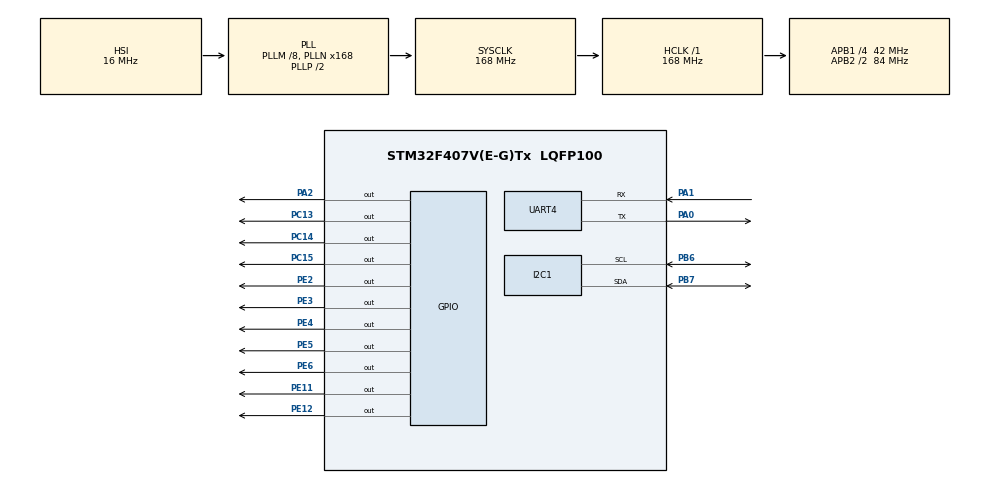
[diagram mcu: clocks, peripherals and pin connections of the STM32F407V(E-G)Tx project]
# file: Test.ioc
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Mcu.Family=STM32F4
Mcu.Name=STM32F407V(E-G)Tx
Mcu.Package=LQFP100
NVIC.PriorityGroup=NVIC_PRIORITYGROUP_0
PA0-WKUP.Mode=Asynchronous
PA0-WKUP.Signal=UART4_TX
PA1.Mode=Asynchronous
PA1.Signal=UART4_RX
PA2.PinState=GPIO_PIN_RESET
PA2.Signal=GPIO_Output
PB6.Mode=I2C
PB6.Signal=I2C1_SCL
PB7.Mode=I2C
PB7.Signal=I2C1_SDA
PC13-ANTI_TAMP.Signal=GPIO_Output
PC14-OSC32_IN.GPIO_PuPd=GPIO_NOPULL
PC14-OSC32_IN.PinState=GPIO_PIN_RESET
PC14-OSC32_IN.Signal=GPIO_Output
PC15-OSC32_OUT.Signal=GPIO_Output
PE11.Signal=GPIO_Output
PE12.Signal=GPIO_Output
PE2.Signal=GPIO_Output
PE3.Signal=GPIO_Output
PE4.Signal=GPIO_Output
PE5.Signal=GPIO_Output
PE6.Signal=GPIO_Output
ProjectManager.HeapSize=0x200
ProjectManager.StackSize=0x400
ProjectManager.TargetToolchain=STM32CubeIDE
RCC.48MHZClocksFreq_Value=48000000
RCC.AHBFreq_Value=168000000
RCC.APB1CLKDivider=RCC_HCLK_DIV4
RCC.APB1Freq_Value=42000000
RCC.APB1TimFreq_Value=84000000
RCC.APB2CLKDivider=RCC_HCLK_DIV2
RCC.APB2Freq_Value=84000000
RCC.APB2TimFreq_Value=168000000
RCC.CortexFreq_Value=168000000
RCC.HCLKFreq_Value=168000000
RCC.HSE_VALUE=8000000
RCC.HSI_VALUE=16000000
RCC.PLLI2SN=50
RCC.PLLM=8
RCC.PLLN=168
RCC.PLLQ=7
RCC.SYSCLKFreq_VALUE=168000000
RCC.SYSCLKSource=RCC_SYSCLKSOURCE_PLLCLK
RCC.VCOOutputFreq_Value=336000000
UART4.VirtualMode=Asynchronous
board=STM32F407G-DISC1

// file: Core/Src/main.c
/* USER CODE BEGIN Header */
/**
  ******************************************************************************
  * @file           : main.c
  * @brief          : Main program body
  ******************************************************************************
  * @attention
  *
  * Copyright (c) 2024 STMicroelectronics.
  * All rights reserved.
  *
  * This software is licensed under terms that can be found in the LICENSE file
  * in the root directory of this software component.
  * If no LICENSE file comes with this software, it is provided AS-IS.
  *
  ******************************************************************************
  */
/* USER CODE END Header */
#include "main.h"

/* USER CODE BEGIN PD */
#define TCA9543A_ADDR 0x70 // TCA9543A I2C-adres
#define ADS1115_BASE_ADDR 0x48 // Basisadres voor ADS1115
/* USER CODE END PD */

I2C_HandleTypeDef hi2c1;

UART_HandleTypeDef huart4;

void SystemClock_Config(void);
static void MX_GPIO_Init(void);
static void MX_I2C1_Init(void);
static void MX_UART4_Init(void);
/* USER CODE BEGIN PFP */
uint16_t results[24];

void selectI2CChannel(uint8_t channel) {
    uint8_t config = 1 << channel;
    HAL_I2C_Master_Transmit(&hi2c1, TCA9543A_ADDR << 1, &config, 1, HAL_MAX_DELAY);
}

uint16_t readADS1115(uint8_t addr, uint8_t channel) {
    uint8_t config[3];
    uint8_t data[2];

    // Config register to single-shot mode, selecting the correct channel
    config[0] = 0x01; // Config register

    // Configuration settings: Single-shot mode, FSR ±6.144V, 128SPS
    // Different AINx for different channels
    switch(channel) {
        case 0: config[1] = 0xC3; break; // AIN0
        case 1: config[1] = 0xD3; break; // AIN1
        case 2: config[1] = 0xE3; break; // AIN2
        case 3: config[1] = 0xF3; break; // AIN3
    }

    config[2] = 0x83; // LSB: Disable comparator

    HAL_I2C_Master_Transmit(&hi2c1, addr << 1, config, 3, HAL_MAX_DELAY);

    // Wait for the conversion to complete
    HAL_Delay(8); // ADS1115 max conversion time is 8ms

    // Read conversion result
    uint8_t reg = 0x00; // Conversion register
    HAL_I2C_Master_Transmit(&hi2c1, addr << 1, &reg, 1, HAL_MAX_DELAY);
    HAL_I2C_Master_Receive(&hi2c1, addr << 1, data, 2, HAL_MAX_DELAY);

    uint16_t result = (data[0] << 8) | data[1];
    return result;
}

/* USER CODE END PFP */

int main(void)
{

  /* MCU Configuration--------------------------------------------------------*/

  /* Reset of all peripherals, Initializes the Flash interface and the Systick. */
  HAL_Init();

  /* Configure the system clock */
  SystemClock_Config();

  /* Initialize all configured peripherals */
  MX_GPIO_Init();
  MX_I2C1_Init();
  MX_UART4_Init();
  /* USER CODE BEGIN 2 */

  HAL_GPIO_WritePin(GPIOC, GPIO_PIN_13, GPIO_PIN_RESET); // Set PC13 low (0V)
  HAL_GPIO_WritePin(GPIOE, GPIO_PIN_2, GPIO_PIN_RESET); // Set PC13 low (0V)
  HAL_GPIO_WritePin(GPIOE, GPIO_PIN_3, GPIO_PIN_RESET); // Set PC13 low (0V)
  HAL_GPIO_WritePin(GPIOE, GPIO_PIN_4, GPIO_PIN_RESET); // Set PC13 low (0V)
  HAL_GPIO_WritePin(GPIOE, GPIO_PIN_5, GPIO_PIN_RESET); // Set PC13 low (0V)
  HAL_GPIO_WritePin(GPIOE, GPIO_PIN_6, GPIO_PIN_SET); // Set PC13 low (0V)

  HAL_GPIO_WritePin(GPIOE, GPIO_PIN_11, GPIO_PIN_SET); // Set PA2 high (0V)
  HAL_GPIO_WritePin(GPIOE, GPIO_PIN_12, GPIO_PIN_RESET); // Set PC14 low (0V)
  /* USER CODE END 2 */

  /* Infinite loop */
  /* USER CODE BEGIN WHILE */
  while (1)
  {
	  for (uint8_t channel = 0; channel < 2; channel++) {
	              selectI2CChannel(channel);

	              uint8_t ads_addresses[3] = {0x4A, 0x49, 0x48}; // ADDR: SDA, 5V, GND

	              for (uint8_t i = 0; i < 3; i++) {
	                  uint8_t addr = ads_addresses[i];
	                  for (uint8_t j = 0; j < 4; j++) {
	                      uint16_t result = readADS1115(addr, j); // Pas de readADS1115 aan om het kanaal door te geven
	                      results[channel * 12 + i * 4 + j] = result;
	                      HAL_Delay(100); // Eventueel wat vertraging om het uitlezen stabiel te houden
	                  }
	              }
	  	  	  }
	  //HAL_GPIO_WritePin(GPIOA, GPIO_PIN_2, GPIO_PIN_SET); // Set PA2 high (0V)
	 // HAL_Delay(8000); // Delay 1 second
	 // HAL_GPIO_WritePin(GPIOA, GPIO_PIN_2, GPIO_PIN_RESET); // Set PA2 low (0V)
	 // HAL_Delay(3000);
	   HAL_GPIO_WritePin(GPIOC, GPIO_PIN_14, GPIO_PIN_SET); // Set PC14 high (3V)
	   HAL_GPIO_WritePin(GPIOC, GPIO_PIN_15, GPIO_PIN_RESET);
	  // HAL_Delay(4000);
	  // HAL_GPIO_WritePin(GPIOC, GPIO_PIN_14, GPIO_PIN_RESET); // Set PC14 high (3V)
	   //HAL_GPIO_WritePin(GPIOC, GPIO_PIN_15, GPIO_PIN_SET);
	  // HAL_Delay(4000);

    /* USER CODE END WHILE */

  }
}

void SystemClock_Config(void)
{
  RCC_OscInitTypeDef RCC_OscInitStruct = {0};
  RCC_ClkInitTypeDef RCC_ClkInitStruct = {0};

  /** Configure the main internal regulator output voltage
  */
  __HAL_RCC_PWR_CLK_ENABLE();
  __HAL_PWR_VOLTAGESCALING_CONFIG(PWR_REGULATOR_VOLTAGE_SCALE1);

  /** Initializes the RCC Oscillators according to the specified parameters
  * in the RCC_OscInitTypeDef structure.
  */
  RCC_OscInitStruct.OscillatorType = RCC_OSCILLATORTYPE_HSI;
  RCC_OscInitStruct.HSIState = RCC_HSI_ON;
  RCC_OscInitStruct.HSICalibrationValue = RCC_HSICALIBRATION_DEFAULT;
  RCC_OscInitStruct.PLL.PLLState = RCC_PLL_ON;
  RCC_OscInitStruct.PLL.PLLSource = RCC_PLLSOURCE_HSI;
  RCC_OscInitStruct.PLL.PLLM = 8;
  RCC_OscInitStruct.PLL.PLLN = 168;
  RCC_OscInitStruct.PLL.PLLP = RCC_PLLP_DIV2;
  RCC_OscInitStruct.PLL.PLLQ = 7;
  if (HAL_RCC_OscConfig(&RCC_OscInitStruct) != HAL_OK)
  {
    Error_Handler();
  }

  /** Initializes the CPU, AHB and APB buses clocks
  */
  RCC_ClkInitStruct.ClockType = RCC_CLOCKTYPE_HCLK|RCC_CLOCKTYPE_SYSCLK
                              |RCC_CLOCKTYPE_PCLK1|RCC_CLOCKTYPE_PCLK2;
  RCC_ClkInitStruct.SYSCLKSource = RCC_SYSCLKSOURCE_PLLCLK;
  RCC_ClkInitStruct.AHBCLKDivider = RCC_SYSCLK_DIV1;
  RCC_ClkInitStruct.APB1CLKDivider = RCC_HCLK_DIV4;
  RCC_ClkInitStruct.APB2CLKDivider = RCC_HCLK_DIV2;

  if (HAL_RCC_ClockConfig(&RCC_ClkInitStruct, FLASH_LATENCY_5) != HAL_OK)
  {
    Error_Handler();
  }
}

static void MX_I2C1_Init(void)
{

  hi2c1.Instance = I2C1;
  hi2c1.Init.ClockSpeed = 100000;
  hi2c1.Init.DutyCycle = I2C_DUTYCYCLE_2;
  hi2c1.Init.OwnAddress1 = 0;
  hi2c1.Init.AddressingMode = I2C_ADDRESSINGMODE_7BIT;
  hi2c1.Init.DualAddressMode = I2C_DUALADDRESS_DISABLE;
  hi2c1.Init.OwnAddress2 = 0;
  hi2c1.Init.GeneralCallMode = I2C_GENERALCALL_DISABLE;
  hi2c1.Init.NoStretchMode = I2C_NOSTRETCH_DISABLE;
  if (HAL_I2C_Init(&hi2c1) != HAL_OK)
  {
    Error_Handler();
  }

}

static void MX_UART4_Init(void)
{

  huart4.Instance = UART4;
  huart4.Init.BaudRate = 115200;
  huart4.Init.WordLength = UART_WORDLENGTH_8B;
  huart4.Init.StopBits = UART_STOPBITS_1;
  huart4.Init.Parity = UART_PARITY_NONE;
  huart4.Init.Mode = UART_MODE_TX_RX;
  huart4.Init.HwFlowCtl = UART_HWCONTROL_NONE;
  huart4.Init.OverSampling = UART_OVERSAMPLING_16;
  if (HAL_UART_Init(&huart4) != HAL_OK)
  {
    Error_Handler();
  }

}

static void MX_GPIO_Init(void)
{
  GPIO_InitTypeDef GPIO_InitStruct = {0};

  /* GPIO Ports Clock Enable */
  __HAL_RCC_GPIOE_CLK_ENABLE();
  __HAL_RCC_GPIOC_CLK_ENABLE();
  __HAL_RCC_GPIOA_CLK_ENABLE();
  __HAL_RCC_GPIOB_CLK_ENABLE();

  /*Configure GPIO pin Output Level */
  HAL_GPIO_WritePin(GPIOE, GPIO_PIN_2|GPIO_PIN_3|GPIO_PIN_4|GPIO_PIN_5
                          |GPIO_PIN_6|GPIO_PIN_11|GPIO_PIN_12, GPIO_PIN_RESET);

  /*Configure GPIO pin Output Level */
  HAL_GPIO_WritePin(GPIOC, GPIO_PIN_13|GPIO_PIN_14|GPIO_PIN_15, GPIO_PIN_RESET);

  /*Configure GPIO pin Output Level */
  HAL_GPIO_WritePin(GPIOA, GPIO_PIN_2, GPIO_PIN_RESET);

  /*Configure GPIO pins : PE2 PE3 PE4 PE5
                           PE6 PE11 PE12 */
  GPIO_InitStruct.Pin = GPIO_PIN_2|GPIO_PIN_3|GPIO_PIN_4|GPIO_PIN_5
                          |GPIO_PIN_6|GPIO_PIN_11|GPIO_PIN_12;
  GPIO_InitStruct.Mode = GPIO_MODE_OUTPUT_PP;
  GPIO_InitStruct.Pull = GPIO_NOPULL;
  GPIO_InitStruct.Speed = GPIO_SPEED_FREQ_LOW;
  HAL_GPIO_Init(GPIOE, &GPIO_InitStruct);

  /*Configure GPIO pins : PC13 PC14 PC15 */
  GPIO_InitStruct.Pin = GPIO_PIN_13|GPIO_PIN_14|GPIO_PIN_15;
  GPIO_InitStruct.Mode = GPIO_MODE_OUTPUT_PP;
  GPIO_InitStruct.Pull = GPIO_NOPULL;
  GPIO_InitStruct.Speed = GPIO_SPEED_FREQ_LOW;
  HAL_GPIO_Init(GPIOC, &GPIO_InitStruct);

  /*Configure GPIO pin : PA2 */
  GPIO_InitStruct.Pin = GPIO_PIN_2;
  GPIO_InitStruct.Mode = GPIO_MODE_OUTPUT_PP;
  GPIO_InitStruct.Pull = GPIO_NOPULL;
  GPIO_InitStruct.Speed = GPIO_SPEED_FREQ_LOW;
  HAL_GPIO_Init(GPIOA, &GPIO_InitStruct);

}

void Error_Handler(void)
{
  __disable_irq();
  while (1)
  {
  }
}
